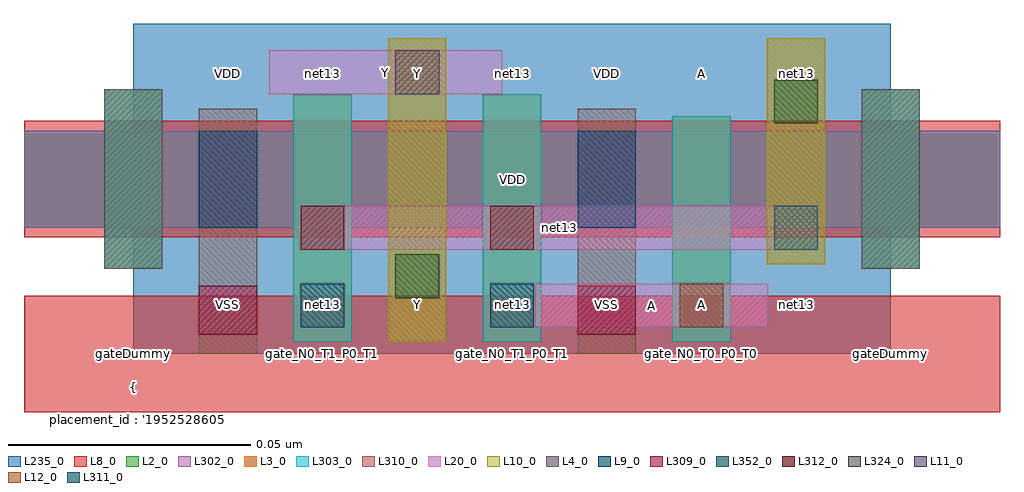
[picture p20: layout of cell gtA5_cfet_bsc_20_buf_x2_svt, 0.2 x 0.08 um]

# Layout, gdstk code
import gdstk
lib = gdstk.Library(unit=1e-6, precision=2.5e-10)
def R(c, l, rs):  # rectangles x0, y0, x1, y1
    for r in rs: c.add(gdstk.rectangle(r[:2], r[2:], *l))
L2_0 = (2, 0)
L3_0 = (3, 0)
L4_0 = (4, 0)
L8_0 = (8, 0)
L9_0 = (9, 0)
L10_0 = (10, 0)
L11_0 = (11, 0)
L12_0 = (12, 0)
L20_0 = (20, 0)
L235_0 = (235, 0)
L302_0 = (302, 0)
L303_0 = (303, 0)
L309_0 = (309, 0)
L310_0 = (310, 0)
L311_0 = (311, 0)
L312_0 = (312, 0)
L324_0 = (324, 0)
L352_0 = (352, 0)

gta5_cfet_bsc_20_buf_x2_ = lib.new_cell('gtA5_cfet_bsc_20_buf_x2_svt')
R(gta5_cfet_bsc_20_buf_x2_, L2_0, [(-0.0225,0.026,0.1785,0.046)])
R(gta5_cfet_bsc_20_buf_x2_, L3_0, [(0.033,0.0025,0.045,0.0535), (0.072,0.0025,0.084,0.0535), (0.111,0.0025,0.123,0.049), (-0.006,0.0175,0.006,0.0545), (0.15,0.0175,0.162,0.0545)])
R(gta5_cfet_bsc_20_buf_x2_, L4_0, [(-0.006,0.0175,0.006,0.0545), (0.15,0.0175,0.162,0.0545)])
R(gta5_cfet_bsc_20_buf_x2_, L8_0, [(-0.0225,-0.012,0.1785,0.012), (-0.0225,0.024,0.1785,0.048)])
R(gta5_cfet_bsc_20_buf_x2_, L9_0, [(0.0135,0.026,0.0255,0.046), (0.0915,0.026,0.1035,0.046)])
R(gta5_cfet_bsc_20_buf_x2_, L10_0, [(0.0525,0.0025,0.0645,0.065), (0.1305,0.0185,0.1425,0.065)])
R(gta5_cfet_bsc_20_buf_x2_, L11_0, [(0.054,0.0535,0.063,0.0625)])
R(gta5_cfet_bsc_20_buf_x2_, L12_0, [(0.1125,0.0055,0.1215,0.0145)])
R(gta5_cfet_bsc_20_buf_x2_, L20_0, [(0.0828,0.0055,0.1308,0.0145), (0.0345,0.0215,0.141,0.0305), (0.028,0.0535,0.076,0.0625)])
R(gta5_cfet_bsc_20_buf_x2_, L235_0, [(0,0,0.156,0.068)])
R(gta5_cfet_bsc_20_buf_x2_, L302_0, [(-0.0225,0.026,0.1785,0.046)])
R(gta5_cfet_bsc_20_buf_x2_, L303_0, [(0.033,0.0025,0.045,0.0535), (0.072,0.0025,0.084,0.0535), (0.111,0.0025,0.123,0.049), (-0.006,0.0175,0.006,0.0545), (0.15,0.0175,0.162,0.0545)])
R(gta5_cfet_bsc_20_buf_x2_, L309_0, [(0.0135,0.004,0.0255,0.014), (0.0915,0.004,0.1035,0.014)])
R(gta5_cfet_bsc_20_buf_x2_, L310_0, [(0.0135,0,0.0255,0.0505), (0.0915,0,0.1035,0.0505), (0.0525,0.0025,0.0645,0.065), (0.1305,0.0185,0.1425,0.065)])
R(gta5_cfet_bsc_20_buf_x2_, L311_0, [(0.132,0.0215,0.141,0.0305)])
R(gta5_cfet_bsc_20_buf_x2_, L312_0, [(0.0345,0.0215,0.0435,0.0305), (0.0735,0.0215,0.0825,0.0305)])
R(gta5_cfet_bsc_20_buf_x2_, L324_0, [(0.054,0.0115,0.063,0.0205), (0.132,0.0475,0.141,0.0565)])
R(gta5_cfet_bsc_20_buf_x2_, L352_0, [(0.0345,0.0055,0.0435,0.0145), (0.0735,0.0055,0.0825,0.0145)])
gta5_cfet_bsc_20_buf_x2_.add(gdstk.Label('net13', (0.0878,0.026), layer=100, texttype=100))
gta5_cfet_bsc_20_buf_x2_.add(gdstk.Label('gateDummy', (0,0), layer=103, texttype=103))
gta5_cfet_bsc_20_buf_x2_.add(gdstk.Label('sd_N0_VSS_P0_VDD', (0.0195,0), layer=103, texttype=103))
gta5_cfet_bsc_20_buf_x2_.add(gdstk.Label('gate_N0_T1_P0_T1', (0.039,0), layer=103, texttype=103))
gta5_cfet_bsc_20_buf_x2_.add(gdstk.Label('sd_N0_T3_P0_T3', (0.0585,0), layer=103, texttype=103))
gta5_cfet_bsc_20_buf_x2_.add(gdstk.Label('gate_N0_T1_P0_T1', (0.078,0), layer=103, texttype=103))
gta5_cfet_bsc_20_buf_x2_.add(gdstk.Label('sd_N0_VSS_P0_VDD', (0.0975,0), layer=103, texttype=103))
gta5_cfet_bsc_20_buf_x2_.add(gdstk.Label('gate_N0_T0_P0_T0', (0.117,0), layer=103, texttype=103))
gta5_cfet_bsc_20_buf_x2_.add(gdstk.Label('sd_N0_T1_P0_T1', (0.1365,0), layer=103, texttype=103))
gta5_cfet_bsc_20_buf_x2_.add(gdstk.Label('gateDummy', (0.156,0), layer=103, texttype=103))
gta5_cfet_bsc_20_buf_x2_.add(gdstk.Label('}', (0,-0.0742), layer=104, texttype=104))
gta5_cfet_bsc_20_buf_x2_.add(gdstk.Label('  power : None', (0,-0.0675), layer=104, texttype=104))
gta5_cfet_bsc_20_buf_x2_.add(gdstk.Label('  performance : None', (0,-0.0607), layer=104, texttype=104))
gta5_cfet_bsc_20_buf_x2_.add(gdstk.Label("  solution_hash : '10121481094411363109'", (0,-0.054), layer=104, texttype=104))
gta5_cfet_bsc_20_buf_x2_.add(gdstk.Label('  number_m2 : 0', (0,-0.0473), layer=104, texttype=104))
gta5_cfet_bsc_20_buf_x2_.add(gdstk.Label('  number_m1 : 0', (0,-0.0405), layer=104, texttype=104))
gta5_cfet_bsc_20_buf_x2_.add(gdstk.Label('  number_m0cuts : 0', (0,-0.0338), layer=104, texttype=104))
gta5_cfet_bsc_20_buf_x2_.add(gdstk.Label('  number_m0 : 3', (0,-0.027), layer=104, texttype=104))
gta5_cfet_bsc_20_buf_x2_.add(gdstk.Label("  solution_number : '0000'", (0,-0.0203), layer=104, texttype=104))
gta5_cfet_bsc_20_buf_x2_.add(gdstk.Label("  placement_id : '1952528605668342253'", (0,-0.0135), layer=104, texttype=104))
gta5_cfet_bsc_20_buf_x2_.add(gdstk.Label('{', (0,-0.0067), layer=104, texttype=104))
gta5_cfet_bsc_20_buf_x2_.add(gdstk.Label('VSS', (0.0195,0.0103), layer=105, texttype=105))
gta5_cfet_bsc_20_buf_x2_.add(gdstk.Label('net13', (0.039,0.0103), layer=105, texttype=105))
gta5_cfet_bsc_20_buf_x2_.add(gdstk.Label('Y', (0.0585,0.0103), layer=105, texttype=105))
gta5_cfet_bsc_20_buf_x2_.add(gdstk.Label('net13', (0.078,0.0103), layer=105, texttype=105))
gta5_cfet_bsc_20_buf_x2_.add(gdstk.Label('VSS', (0.0975,0.0103), layer=105, texttype=105))
gta5_cfet_bsc_20_buf_x2_.add(gdstk.Label('A', (0.117,0.0103), layer=105, texttype=105))
gta5_cfet_bsc_20_buf_x2_.add(gdstk.Label('net13', (0.1365,0.0103), layer=105, texttype=105))
gta5_cfet_bsc_20_buf_x2_.add(gdstk.Label('VDD', (0.0195,0.0578), layer=105, texttype=105))
gta5_cfet_bsc_20_buf_x2_.add(gdstk.Label('net13', (0.039,0.0578), layer=105, texttype=105))
gta5_cfet_bsc_20_buf_x2_.add(gdstk.Label('Y', (0.0585,0.0578), layer=105, texttype=105))
gta5_cfet_bsc_20_buf_x2_.add(gdstk.Label('net13', (0.078,0.0578), layer=105, texttype=105))
gta5_cfet_bsc_20_buf_x2_.add(gdstk.Label('VDD', (0.0975,0.0578), layer=105, texttype=105))
gta5_cfet_bsc_20_buf_x2_.add(gdstk.Label('A', (0.117,0.0578), layer=105, texttype=105))
gta5_cfet_bsc_20_buf_x2_.add(gdstk.Label('net13', (0.1365,0.0578), layer=105, texttype=105))
gta5_cfet_bsc_20_buf_x2_.add(gdstk.Label('VSS', (0.078,0), layer=8, texttype=0))
gta5_cfet_bsc_20_buf_x2_.add(gdstk.Label('VDD', (0.078,0.036), layer=8, texttype=0))
gta5_cfet_bsc_20_buf_x2_.add(gdstk.Label('A', (0.1067,0.01), layer=20, texttype=251))
gta5_cfet_bsc_20_buf_x2_.add(gdstk.Label('Y', (0.052,0.058), layer=20, texttype=251))
gta5_cfet_bsc_20_buf_x2_.add(gdstk.Label('gtA5_cfet_bsc_20nm_buf_x2_rvt_0', (0,0), layer=235, texttype=0))

lib.write_gds('gtA5_cfet_bsc_20_buf_x2_svt.gds')
